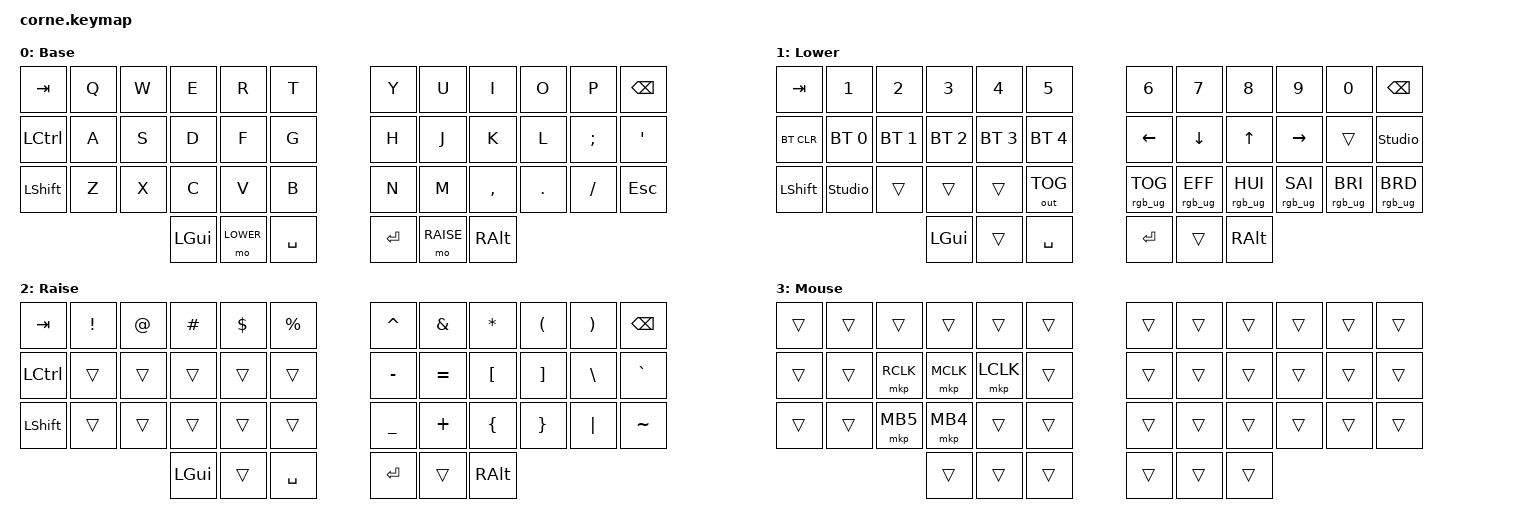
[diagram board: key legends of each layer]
/*
 * Corne v3 (6 colunas) + trackpad Azoteq TPS65
 *
 * SPDX-License-Identifier: MIT
 */

#include <behaviors.dtsi>
#include <input/processors.dtsi>
#include <dt-bindings/zmk/keys.h>
#include <dt-bindings/zmk/bt.h>
#include <dt-bindings/zmk/outputs.h>
#include <dt-bindings/zmk/pointing.h>
#include <dt-bindings/zmk/rgb.h>

#define BASE  0
#define LOWER 1
#define RAISE 2
#define MOUSE 3

/* A ligação trackpad -> layer MOUSE está em corne_left.overlay (&tps65_listener). */

/ {
    keymap {
        compatible = "zmk,keymap";

        base_layer {
            display-name = "Base";
// -----------------------------------------------------------------------------------------
// |  TAB |  Q  |  W  |  E  |  R  |  T  |   |  Y  |  U   |  I  |  O  |  P  | BSPC |
// | CTRL |  A  |  S  |  D  |  F  |  G  |   |  H  |  J   |  K  |  L  |  ;  |  '   |
// | SHFT |  Z  |  X  |  C  |  V  |  B  |   |  N  |  M   |  ,  |  .  |  /  | ESC  |
//                    | GUI | LWR | SPC |   | ENT | RSE  | ALT |
            bindings = <
   &kp TAB   &kp Q &kp W &kp E &kp R &kp T   &kp Y &kp U  &kp I     &kp O   &kp P    &kp BSPC
   &kp LCTRL &kp A &kp S &kp D &kp F &kp G   &kp H &kp J  &kp K     &kp L   &kp SEMI &kp SQT
   &kp LSHFT &kp Z &kp X &kp C &kp V &kp B   &kp N &kp M  &kp COMMA &kp DOT &kp FSLH &kp ESC
                  &kp LGUI &mo LOWER &kp SPACE   &kp RET &mo RAISE &kp RALT
            >;
        };

        lower_layer {
            display-name = "Lower";
// -----------------------------------------------------------------------------------------
// |  TAB |  1  |  2  |  3  |  4  |  5  |   |  6  |  7  |  8  |  9  |  0  | BSPC |
// | BTCLR| BT1 | BT2 | BT3 | BT4 | BT5 |   | LFT | DWN |  UP | RGT |     |STUDIO|
// | SHFT |STUDIO|    |     |     |USB/BT|  |RGBon| EFF | HUE | SAT | BRI+| BRI- |
//                    | GUI |     | SPC |   | ENT |     | ALT |
            bindings = <
   &kp TAB    &kp N1       &kp N2       &kp N3       &kp N4       &kp N5         &kp N6   &kp N7   &kp N8 &kp N9    &kp N0 &kp BSPC
   &bt BT_CLR &bt BT_SEL 0 &bt BT_SEL 1 &bt BT_SEL 2 &bt BT_SEL 3 &bt BT_SEL 4   &kp LEFT &kp DOWN &kp UP &kp RIGHT &trans &studio_unlock
   &kp LSHFT  &studio_unlock &trans     &trans       &trans       &out OUT_TOG   &rgb_ug RGB_TOG &rgb_ug RGB_EFF &rgb_ug RGB_HUI &rgb_ug RGB_SAI &rgb_ug RGB_BRI &rgb_ug RGB_BRD
                                        &kp LGUI     &trans       &kp SPACE      &kp RET  &trans   &kp RALT
            >;
        };

        raise_layer {
            display-name = "Raise";
// -----------------------------------------------------------------------------------------
// |  TAB |  !  |  @  |  #  |  $  |  %  |   |  ^  |  &  |  *  |  (  |  )  | BSPC |
// | CTRL |     |     |     |     |     |   |  -  |  =  |  [  |  ]  |  \  |  `   |
// | SHFT |     |     |     |     |     |   |  _  |  +  |  {  |  }  | "|" |  ~   |
//                    | GUI |     | SPC |   | ENT |     | ALT |
            bindings = <
   &kp TAB   &kp EXCL &kp AT &kp HASH &kp DLLR &kp PRCNT   &kp CARET &kp AMPS  &kp ASTRK &kp LPAR &kp RPAR &kp BSPC
   &kp LCTRL &trans   &trans &trans   &trans   &trans      &kp MINUS &kp EQUAL &kp LBKT  &kp RBKT &kp BSLH &kp GRAVE
   &kp LSHFT &trans   &trans &trans   &trans   &trans      &kp UNDER &kp PLUS  &kp LBRC  &kp RBRC &kp PIPE &kp TILDE
                               &kp LGUI &trans   &kp SPACE   &kp RET   &trans    &kp RALT
            >;
        };

        mouse_layer {
            display-name = "Mouse";
// Ativada automaticamente quando se usa o trackpad (ver corne_left.overlay)
// -----------------------------------------------------------------------------------------
// |      |     |     |     |     |     |   |     |     |     |     |     |      |
// |      |     | RCLK| MCLK| LCLK|     |   |     |     |     |     |     |      |
// |      |     | MB5 | MB4 |     |     |   |     |     |     |     |     |      |
//                    |     |     |     |   |     |     |     |
            bindings = <
   &trans &trans &trans    &trans    &trans    &trans      &trans &trans &trans &trans &trans &trans
   &trans &trans &mkp RCLK &mkp MCLK &mkp LCLK &trans      &trans &trans &trans &trans &trans &trans
   &trans &trans &mkp MB5  &mkp MB4  &trans    &trans      &trans &trans &trans &trans &trans &trans
                           &trans    &trans    &trans      &trans &trans &trans
            >;
        };
    };
};
